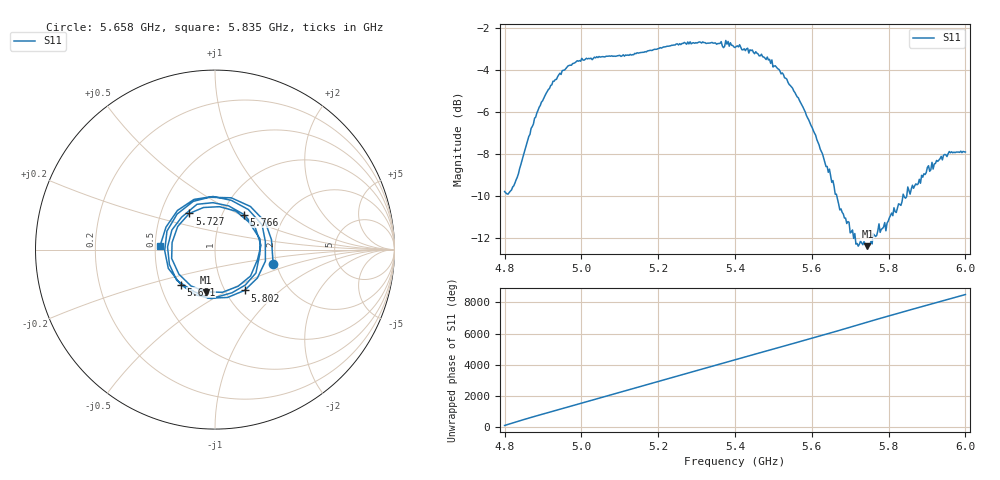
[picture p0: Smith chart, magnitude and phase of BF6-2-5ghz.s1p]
! NanoVNA-App
! Date: 2026-06-16 00:33:27
! Start: 4.8GHz Stop: 6GHz Points: 401
! S-Parameter data: F S11
# Hz S RI R 50
!  Frequency  S11_Real  S11_Imag
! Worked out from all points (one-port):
!   401 points, 4.8 GHz to 6 GHz, reference 50 ohm
!   lowest |S11| = -12.4 dB at 5.745 GHz (marker M1), VSWR 1.63, Z = 40.8 - j20.4 ohm
!   |S11| at or under -10 dB: 5.665 GHz to 5.837 GHz (172.1 MHz wide, 2.99 % of centre); 5.840033 GHz to 5.847202 GHz (7.169 MHz wide, 0.123 % of centre)
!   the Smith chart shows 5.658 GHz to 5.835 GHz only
!   S11 on the Smith chart (normalised r, x): 5.658 GHz: 1.92, -0.34; 5.691 GHz: 0.64, -0.27; 5.727 GHz: 0.70, +0.30; 5.766 GHz: 1.26, +0.53; 5.802 GHz: 1.23, -0.61; 5.835 GHz: 0.53, +0.03
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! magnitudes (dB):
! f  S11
! 4.8 GHz  -9.8
! 4.812 GHz  -9.8
! 4.83 GHz  -9.2
! 4.866 GHz  -7.1
! 4.896 GHz  -5.5
! 4.95 GHz  -4.0
! 4.995 GHz  -3.6
! 5.1 GHz  -3.3
! 5.25 GHz  -2.8
! 5.382 GHz  -2.7
! 5.4 GHz  -2.9
! 5.49 GHz  -3.5
! 5.55 GHz  -4.9
! 5.604 GHz  -6.9
! 5.658 GHz  -9.5
! 5.673 GHz  -10.7
! 5.691 GHz  -11.3
! 5.7 GHz  -11.8
! 5.715 GHz  -12.3
! 5.727 GHz  -12.1
! 5.745 GHz  -12.4
! 5.766 GHz  -11.9
! 5.802 GHz  -11.0
! 5.835 GHz  -10.3
! 5.85 GHz  -9.6
! 5.931 GHz  -8.3
! 5.961 GHz  -7.9
! 6 GHz  -7.9
